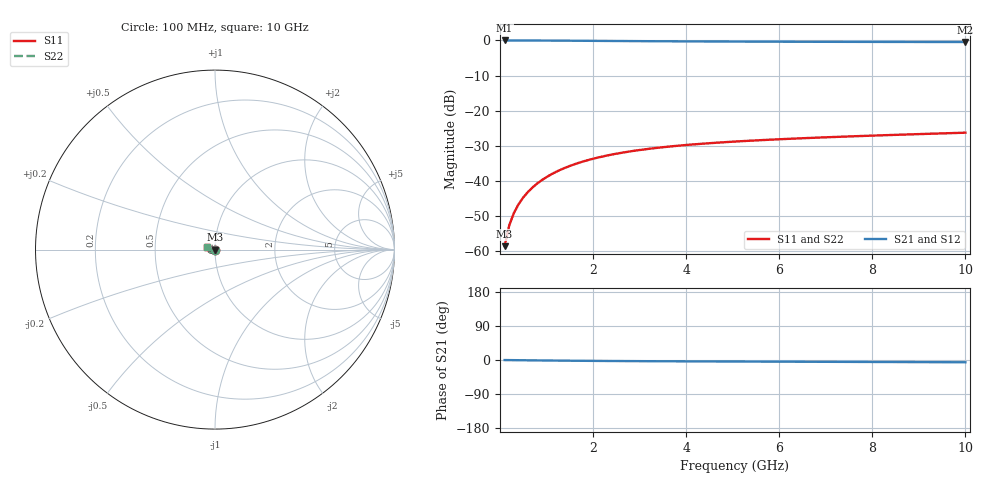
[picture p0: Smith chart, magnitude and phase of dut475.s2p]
! Touchstone file exported from HFSS 2024.1.0
!  File:  C:/UserFiles/LocalFiles/RDL_TSV_Batchsim/temp_TSV1_475_1779698905.aedt
!  Generated:  04:54:32 PM May 25, 2026
!  Design:  TSV1
!  Project:  temp_TSV1_475_1779698905
!  Setup:  Setup1
!  Solution:  Sweep
! Variables:
!  dtsv = 9um
!  hbump = 3um
!  htsv = 92.35um
!  lrdl = 252.1521522um
!  p = 40
!  p1 = 55.81um
!  t = 500um
!  trdl = 3um
!  wrdl = 24.89489489um
# GHz S MA R 50.000000
! Terminal data exported
! Port[1] = TSV22_T1
! Port[2] = TSV22_T2
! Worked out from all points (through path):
!   100 points, 100 MHz to 10 GHz, reference 50 ohm
!   highest |S21| = 0.00 dB at 100 MHz (marker M1); lowest = -0.4 dB at 10 GHz (marker M2)
!   lowest |S11| = -58.5 dB at 100 MHz (marker M3), VSWR 1.00, Z = 50 - j0.118 ohm
!   |S11| at or under -10 dB: start of sweep to end of sweep
!   |S22| runs from -58.5 to -26.2 dB; largest |S21 - S12| = 1.8e-14
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0.1  0.001187 -82.6  0.9998 -0.1  0.9998 -0.1  0.001187 -82.6
! Gamma 0 0 0 0
! Port Impedance 50 0 50 0
0.2  0.002353 -89.1  0.9996 -0.3  0.9996 -0.3  0.002353 -89.1
0.3  0.003524 -92.7  0.9994 -0.4  0.9994 -0.4  0.003524 -92.7
0.4  0.00469 -95.5  0.9991 -0.5  0.9991 -0.5  0.00469 -95.5
0.5  0.005847 -98.0  0.9987 -0.7  0.9987 -0.7  0.005847 -98.0
0.6  0.006992 -100.4  0.9983 -0.8  0.9983 -0.8  0.006992 -100.4
0.7  0.008122 -102.6  0.9977 -0.9  0.9977 -0.9  0.008122 -102.6
0.8  0.009235 -104.8  0.9971 -1.1  0.9971 -1.1  0.009235 -104.8
0.9  0.01033 -106.9  0.9965 -1.2  0.9965 -1.2  0.01033 -106.9
1.1  0.01245 -110.9  0.9951 -1.4  0.9951 -1.4  0.01245 -110.9
1.4  0.01546 -116.7  0.9926 -1.8  0.9926 -1.8  0.01546 -116.7
1.6  0.01734 -120.4  0.9907 -2.0  0.9907 -2.0  0.01734 -120.4
1.8  0.01911 -123.9  0.9889 -2.1  0.9889 -2.1  0.01911 -123.9
2.1  0.02157 -128.9  0.986 -2.4  0.986 -2.4  0.02157 -128.9
2.5  0.0245 -135.2  0.9821 -2.7  0.9821 -2.7  0.0245 -135.2
2.9  0.02706 -141.0  0.9785 -3.0  0.9785 -3.0  0.02706 -141.0
3.4  0.02982 -147.5  0.9743 -3.3  0.9743 -3.3  0.02982 -147.5
4.2  0.03342 -156.8  0.9686 -3.7  0.9686 -3.7  0.03342 -156.8
5.1  0.03665 -165.6  0.9635 -4.0  0.9635 -4.0  0.03665 -165.6
6.7  0.04119 -178.6  0.9571 -4.7  0.9571 -4.7  0.04119 -178.6
8.4  0.04523 170.4  0.9527 -5.3  0.9527 -5.3  0.04523 170.4
10  0.04879 161.8  0.9499 -6.0  0.9499 -6.0  0.04879 161.8
